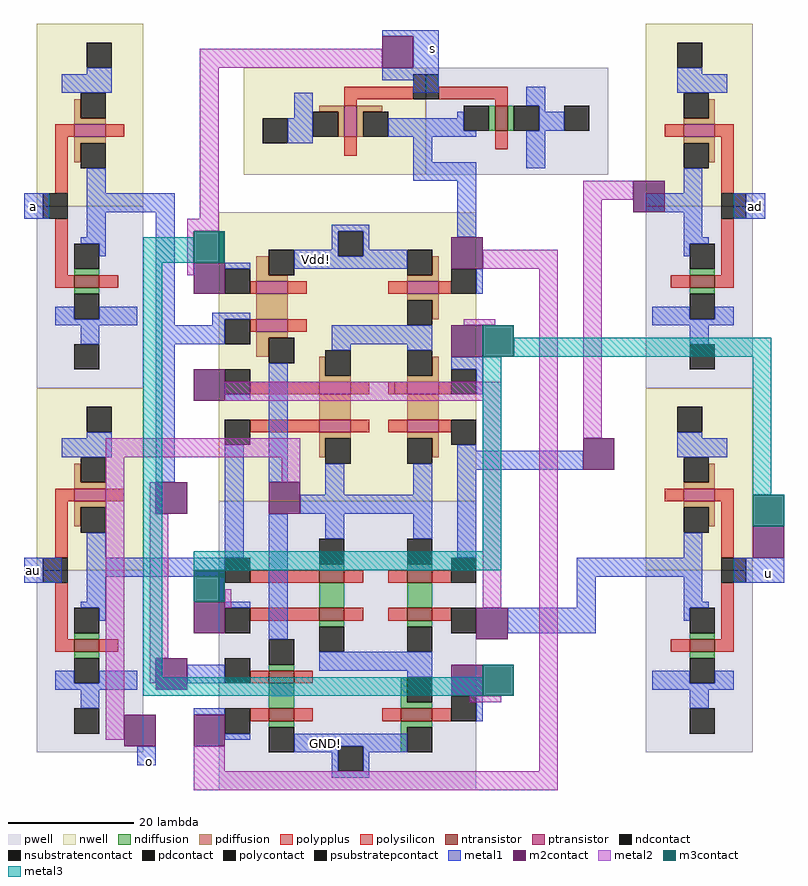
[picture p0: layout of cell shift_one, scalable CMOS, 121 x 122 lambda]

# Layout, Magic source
magic
tech scmos
<< nwell >>
rect 11 9 52 55
<< pwell >>
rect 11 -37 52 9
<< ntransistor >>
rect 27 -4 31 -2
rect 41 -4 45 -2
rect 27 -10 31 -8
rect 41 -10 45 -8
rect 19 -20 23 -18
rect 19 -26 23 -24
rect 40 -26 45 -24
<< ptransistor >>
rect 17 42 22 44
rect 41 42 46 44
rect 17 36 22 38
rect 27 26 32 28
rect 41 26 46 28
rect 27 20 32 22
rect 41 20 46 22
<< ndiffusion >>
rect 27 -2 31 -1
rect 41 -2 45 -1
rect 27 -8 31 -4
rect 41 -8 45 -4
rect 27 -11 31 -10
rect 41 -11 45 -10
rect 19 -18 23 -17
rect 19 -24 23 -20
rect 40 -23 41 -19
rect 40 -24 45 -23
rect 19 -27 23 -26
rect 40 -27 45 -26
rect 40 -31 41 -27
<< pdiffusion >>
rect 17 45 19 48
rect 45 45 46 48
rect 17 44 22 45
rect 41 44 46 45
rect 17 38 22 42
rect 41 41 46 42
rect 45 38 46 41
rect 17 35 22 36
rect 17 32 19 35
rect 27 29 28 32
rect 27 28 32 29
rect 45 29 46 32
rect 41 28 46 29
rect 27 22 32 26
rect 41 22 46 26
rect 27 19 32 20
rect 27 16 28 19
rect 41 19 46 20
rect 45 16 46 19
<< ndcontact >>
rect 27 -1 31 3
rect 41 -1 45 3
rect 19 -17 23 -13
rect 27 -15 31 -11
rect 41 -15 45 -11
rect 41 -23 45 -19
rect 19 -31 23 -27
rect 41 -31 45 -27
<< pdcontact >>
rect 19 45 23 49
rect 41 45 45 49
rect 41 37 45 41
rect 19 31 23 35
rect 28 29 32 33
rect 41 29 45 33
rect 28 15 32 19
rect 41 15 45 19
<< psubstratepcontact >>
rect 30 -34 34 -30
<< nsubstratencontact >>
rect 30 48 34 52
<< polysilicon >>
rect 16 42 17 44
rect 22 42 25 44
rect 38 42 41 44
rect 46 42 48 44
rect 16 36 17 38
rect 22 36 25 38
rect 16 26 27 28
rect 32 26 35 28
rect 38 26 39 28
rect 46 26 48 28
rect 16 20 27 22
rect 32 20 35 22
rect 38 20 41 22
rect 46 20 48 22
rect 16 -4 27 -2
rect 31 -4 34 -2
rect 38 -4 41 -2
rect 45 -4 48 -2
rect 16 -10 27 -8
rect 31 -10 34 -8
rect 38 -10 41 -8
rect 45 -10 48 -8
rect 16 -20 19 -18
rect 23 -20 26 -18
rect 16 -26 19 -24
rect 23 -26 26 -24
rect 37 -26 40 -24
rect 45 -26 48 -24
<< polycontact >>
rect 12 42 16 46
rect 48 42 52 46
rect 12 34 16 38
rect 12 26 16 30
rect 48 26 52 30
rect 12 18 16 22
rect 48 18 52 22
rect 12 -4 16 0
rect 48 -4 52 0
rect 12 -12 16 -8
rect 12 -20 16 -16
rect 48 -12 52 -8
rect 12 -28 16 -24
rect 48 -26 52 -22
<< polypplus >>
rect 39 26 41 28
<< metal1 >>
rect 37 83 46 84
rect 42 78 46 83
rect 37 76 46 78
rect 42 74 46 76
rect 42 63 45 68
rect 42 60 52 63
rect -20 54 -16 58
rect -1 55 4 58
rect 1 37 4 55
rect 29 52 35 53
rect 29 49 30 52
rect 12 46 16 47
rect 23 48 30 49
rect 34 49 35 52
rect 49 51 52 60
rect 93 54 98 58
rect 34 48 41 49
rect 23 46 41 48
rect 52 42 53 46
rect 10 38 16 39
rect 10 37 12 38
rect 1 34 12 37
rect 1 12 4 34
rect 29 34 45 37
rect 29 33 32 34
rect 12 25 16 26
rect 12 0 15 18
rect 19 12 22 31
rect 41 33 45 34
rect 48 30 53 32
rect 52 26 53 30
rect 28 10 31 15
rect 42 10 45 15
rect 24 7 45 10
rect -20 -4 -14 0
rect -3 -3 12 0
rect 12 -8 16 -7
rect 19 -13 22 7
rect 28 3 31 7
rect 42 3 45 7
rect 49 17 52 18
rect 49 14 69 17
rect 49 0 52 14
rect 68 -3 80 0
rect 68 -8 71 -3
rect 93 -4 101 0
rect 6 -20 12 -17
rect 57 -12 71 -8
rect 27 -18 45 -15
rect 41 -19 45 -18
rect 7 -25 12 -24
rect 52 -26 53 -22
rect 12 -29 16 -28
rect -2 -33 1 -30
rect 23 -30 41 -28
rect 23 -31 30 -30
rect 29 -34 30 -31
rect 34 -31 41 -30
rect 34 -34 35 -31
rect 29 -35 35 -34
<< m2contact >>
rect 37 78 42 83
rect 7 42 12 47
rect 77 55 82 60
rect 48 46 53 51
rect 7 25 12 30
rect 1 7 6 12
rect 48 32 53 37
rect 19 7 24 12
rect 7 -12 12 -7
rect 69 14 74 19
rect 96 0 101 5
rect 1 -21 6 -16
rect 52 -13 57 -8
rect 48 -22 53 -17
rect -4 -30 1 -25
rect 7 -30 12 -25
<< metal2 >>
rect 8 78 37 81
rect 8 54 11 78
rect 6 52 11 54
rect 69 57 77 60
rect 6 45 7 52
rect 53 46 65 49
rect 50 37 55 38
rect 12 25 56 28
rect -7 16 24 19
rect -7 -29 -4 16
rect 21 12 24 16
rect 0 7 1 12
rect 0 -16 3 7
rect 12 -8 13 -5
rect 53 -8 56 25
rect 0 -20 1 -16
rect 51 -23 56 -22
rect 7 -34 12 -30
rect 62 -34 65 46
rect 69 19 72 57
rect 7 -37 65 -34
<< m3contact >>
rect 7 47 12 52
rect 53 32 58 37
rect 7 -7 12 -2
rect 53 -22 58 -17
rect 96 5 101 10
<< metal3 >>
rect -1 47 7 51
rect -1 -19 2 47
rect 58 32 99 35
rect 53 1 56 32
rect 96 10 99 32
rect 7 -2 56 1
rect -1 -22 53 -19
use inv2  inv2_1
transform 0 -1 39 -1 0 70
box -8 -34 9 24
use inv2  inv2_3
transform -1 0 88 0 1 61
box -8 -34 9 24
use inv2  inv2_2
transform -1 0 88 0 1 3
box -8 -34 9 24
use inv2  inv2_0
transform 1 0 -10 0 1 61
box -8 -34 9 24
use inv2  inv2_4
transform 1 0 -10 0 1 3
box -8 -34 9 24
<< labels >>
rlabel metal1 95 54 98 58 3 ad
rlabel metal1 -20 54 -17 58 7 a
rlabel metal1 -20 -4 -17 0 7 au
rlabel metal1 26 47 27 48 1 Vdd!
rlabel metal1 -1 -33 1 -32 5 o
rlabel metal1 96 -4 101 -1 5 u
rlabel metal1 44 80 46 82 7 s
rlabel metal1 27 -30 29 -29 5 GND!
<< end >>

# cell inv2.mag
magic
tech scmos
<< nwell >>
rect -8 -5 9 24
<< pwell >>
rect -8 -34 9 -5
<< ntransistor >>
rect -2 -18 2 -16
<< ptransistor >>
rect -2 6 3 8
<< ndiffusion >>
rect -2 -16 2 -15
rect -2 -19 2 -18
<< pdiffusion >>
rect -2 9 -1 12
rect -2 8 3 9
rect -2 5 3 6
rect -2 2 -1 5
<< ndcontact >>
rect -2 -15 2 -11
rect -2 -23 2 -19
<< pdcontact >>
rect -1 9 3 13
rect -1 1 3 5
<< psubstratepcontact >>
rect -2 -31 2 -27
<< nsubstratencontact >>
rect 0 17 4 21
<< polysilicon >>
rect -5 6 -2 8
rect 3 6 6 8
rect -5 -3 -3 6
rect -5 -16 -3 -7
rect -5 -18 -2 -16
rect 2 -18 5 -16
<< polycontact >>
rect -7 -7 -3 -3
<< metal1 >>
rect 0 16 4 17
rect -4 13 4 16
rect 0 -3 3 1
rect -8 -7 -7 -4
rect 0 -6 9 -3
rect 0 -10 3 -6
rect -1 -11 3 -10
rect 2 -13 3 -11
rect -5 -23 -2 -21
rect 2 -23 8 -21
rect -5 -24 8 -23
rect -1 -27 2 -24
<< labels >>
rlabel metal1 6 -5 6 -5 3 out
rlabel metal1 -1 14 -1 14 1 !Vdd
rlabel metal1 -4 -23 -4 -23 5 !GND
rlabel metal1 -8 -6 -8 -6 7 in
<< end >>
